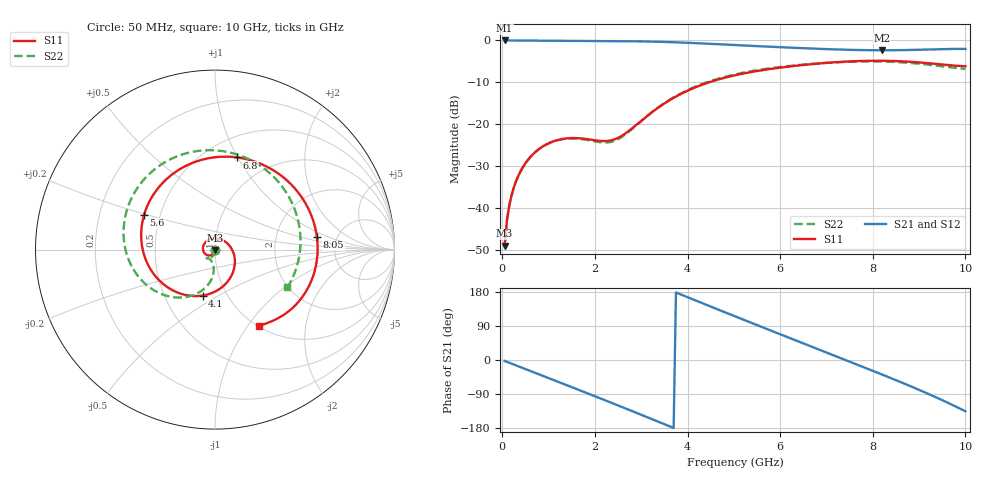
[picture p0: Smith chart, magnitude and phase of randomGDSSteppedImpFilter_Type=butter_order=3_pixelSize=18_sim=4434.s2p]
! freq	dB(S11)	phase(S11)	dB(S12)	phase(S12)
!  dB(S21)	phase(S21)	dB(S22)	phase(S22)
!S-par simulation data
#  GHz  S  DB  R 50
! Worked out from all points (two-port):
!   200 points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, 50 MHz to 10 GHz, reference 50 ohm
!   highest |S21| = -0.01 dB at 50 MHz (marker M1); lowest = -2.4 dB at 8.2 GHz (marker M2)
!   |S21| within 3 dB of the highest: start of sweep to end of sweep
!   lowest |S11| = -49.0 dB at 50 MHz (marker M3), VSWR 1.01, Z = 50 - j0.353 ohm
!   |S11| at or under -10 dB: start of sweep to 4.467 GHz
!   |S22| runs from -49.2 to -5.0 dB; largest |S21 - S12| = 0
!   S11 on the Smith chart (normalised r, x): 50 MHz: 1.00, -0.01; 4.1 GHz: 0.77, -0.42; 5.6 GHz: 0.41, +0.20; 6.8 GHz: 0.70, +0.99; 8.05 GHz: 3.52, +0.72; 10 GHz: 1.01, -1.13
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0.05  -49.03 -92.0  -0.01 -2.4  -0.01 -2.4  -49.15 -88.9
0.1  -43.02 -95.6  -0.01 -4.8  -0.01 -4.8  -43.01 -91.6
0.2  -37.02 -102.0  -0.02 -9.6  -0.02 -9.6  -36.98 -95.8
0.5  -29.34 -121.4  -0.03 -24.0  -0.03 -24.0  -29.34 -106.4
1.05  -24.33 -158.7  -0.07 -50.2  -0.07 -50.2  -24.37 -123.2
1.75  -23.46 144.2  -0.11 -83.6  -0.11 -83.6  -23.63 -134.1
2.5  -23.28 48.2  -0.16 -119.9  -0.16 -119.9  -23.60 -108.3
3.4  -15.81 -52.2  -0.33 -164.4  -0.33 -164.4  -15.73 -96.4
4.1  -11.53 -105.2  -0.61 160.8  -0.61 160.8  -11.36 -113.4
5.05  -8.26 -169.6  -1.11 114.1  -1.11 114.1  -8.05 -142.5
5.6  -7.13 153.9  -1.41 87.3  -1.41 87.3  -6.94 -159.6
6.2  -6.23 114.5  -1.72 58.3  -1.72 58.3  -6.09 -178.6
6.7  -5.65 82.7  -1.95 34.1  -1.95 34.1  -5.59 164.9
6.8  -5.55 76.5  -1.99 29.3  -1.99 29.3  -5.50 161.4
7.4  -5.07 41.1  -2.22 0.4  -2.22 0.4  -5.13 139.2
8.05  -4.85 6.9  -2.35 -31.0  -2.35 -31.0  -5.02 111.1
8.2  -4.85 -0.3  -2.35 -38.3  -2.35 -38.3  -5.05 103.8
8.35  -4.88 -7.2  -2.35 -45.7  -2.35 -45.7  -5.09 96.1
8.8  -5.09 -26.1  -2.28 -68.3  -2.28 -68.3  -5.37 70.4
9.25  -5.49 -41.9  -2.15 -92.1  -2.15 -92.1  -5.86 39.5
9.65  -5.91 -52.9  -2.05 -114.5  -2.05 -114.5  -6.39 6.3
10  -6.17 -60.1  -2.02 -135.2  -2.02 -135.2  -6.83 -27.6
